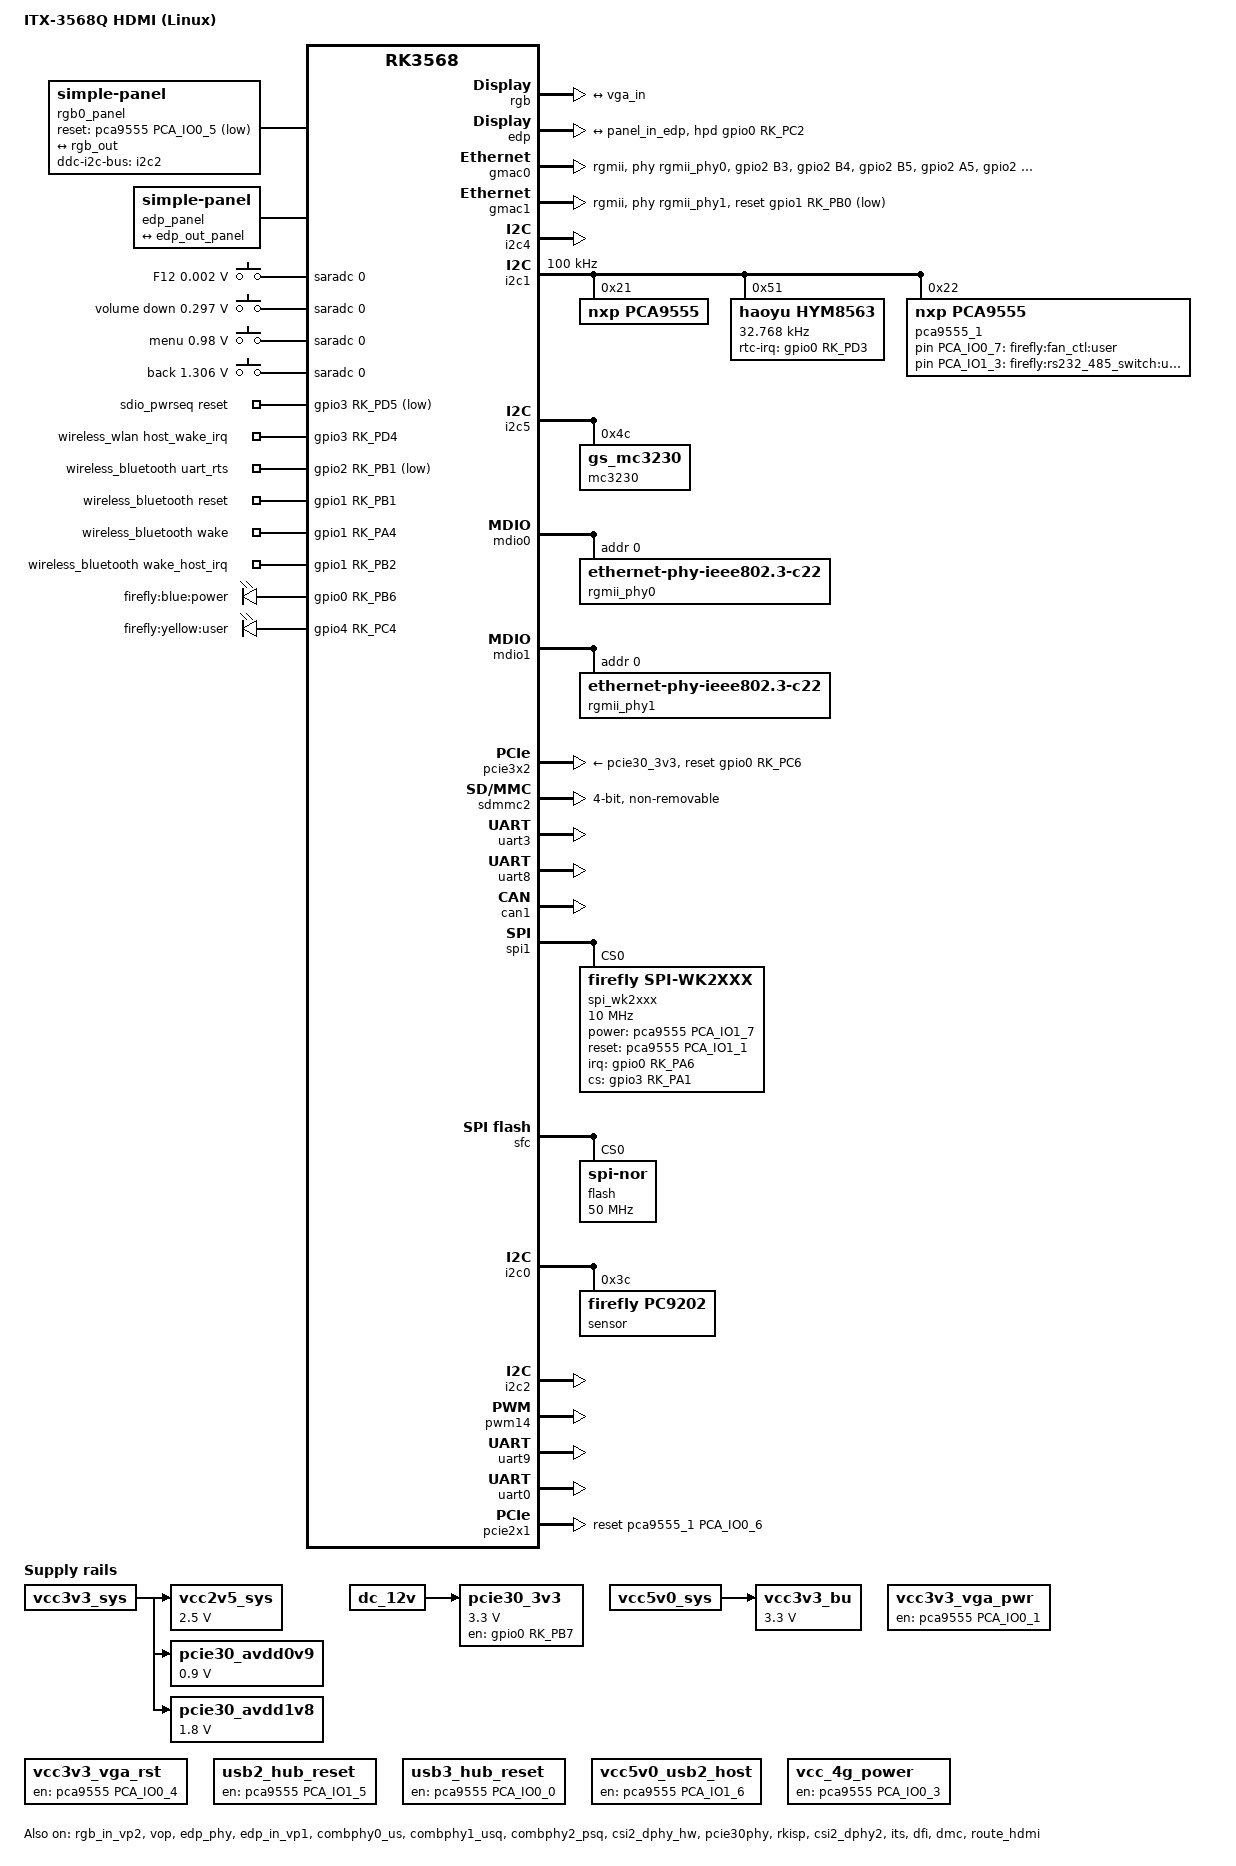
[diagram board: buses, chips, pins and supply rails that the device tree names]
// SPDX-License-Identifier: (GPL-2.0+ OR MIT)
/*
 * Copyright (c) 2020 Rockchip Electronics Co., Ltd.
 *
 */

/dts-v1/;

#include <dt-bindings/gpio/gpio.h>
#include <dt-bindings/pinctrl/rockchip.h>
#include <dt-bindings/display/rockchip_vop.h>
#include "rk3568-firefly-core.dtsi"
#include "rk3568-linux.dtsi"

/*
* Screen.
*/
#include <dt-bindings/display/media-bus-format.h>


/*
 * Camera.Select one of the three
 * using single camera xc7160 ----> rk3568-firefly-itx-3568q-cam-8ms1m.dtsi
 * using single camera imx415 ----> rk3568-firefly-itx-3568q-cam-imx415.dtsi
 * using dual camera gc2053/gc2093   ----> rk3568-firefly-itx-3568q-cam-2ms2m.dtsi
 * using hdmi-in module rk628d   ----> rk3568-firefly-itx-3568q-hdmi-mipi-rk628.dtsi
 */
#include "rk3568-firefly-itx-3568q-cam-8ms1m.dtsi"
#include "rk3568-firefly-itx-3568q-cam-imx415.dtsi"
#include "rk3568-firefly-itx-3568q-cam-ov5647.dtsi"
//#include "rk3568-firefly-itx-3568q-cam-2ms2m.dtsi"
//#include "rk3568-firefly-itx-3568q-hdmi-mipi-rk628.dtsi"

/ {
    model = "ITX-3568Q HDMI (Linux)";
    compatible = "rockchip,rk3568-firefly-itx-3568q", "rockchip,rk3568";

    	rgb0_panel {
			status = "okay";
			compatible = "simple-panel";
			ddc-i2c-bus = <&i2c2>;
			soft-hpd;
			//enable-gpios =<&pca9555 PCA_IO0_1 GPIO_ACTIVE_HIGH>;
			reset-gpios = <&pca9555 PCA_IO0_5 GPIO_ACTIVE_LOW>;
			/*	bus-format. default RGB for D23-D16/D15-8/D7-D0.
			        MEDIA_BUS_FMT_RGB888_1X24,  0x100a
					MEDIA_BUS_FMT_BGR888_1X24,  0x1013
			*/
//			bus-format = < 0x1013>;

			/*
				name              refresh     xres    yres    pixclock            h_bp    h_fp    v_bp    v_fp    h_pw    v_pw    polariry    PorI    flag(used for vic)
				{"640x480p@60Hz",   60,         640,    480,    25000000,   48,     16,     33,    10,       96,    2,      0,          0,      1   },
				{"800x600p@60Hz",   60,         800,    600,    40000000,   88,     40,     23,     1,      128,    4,      FB_SYNC_HOR_HIGH_ACT | FB_SYNC_VERT_HIGH_ACT,           0,      0       },
				{"1024x768p@60Hz",  60,         1024,   768,    65000000,   160,    24,     29,     3,      136,    6,      0,          0,      0   },
				{"1280x720p@60Hz",  60,         1280,   720,    74250000,   220,   110,     20,     5,       40,    5,      FB_SYNC_HOR_HIGH_ACT | FB_SYNC_VERT_HIGH_ACT,           0,      0       },
				{"1280x1024p@60Hz", 60,         1280,   1024,   108000000,  248,    48,     38,     1,      112,    3,      FB_SYNC_HOR_HIGH_ACT | FB_SYNC_VERT_HIGH_ACT,           0,      6       },
				{"1366x768p@60Hz",  60,         1366,   768,    85500000,   213,    70,     24,     3,      143,    3,      FB_SYNC_HOR_HIGH_ACT | FB_SYNC_VERT_HIGH_ACT,           0,      0       },
				{"1440x900p@60Hz",  60,         1440,   900,    106500000,  232,    80,     25,     3,      152,    6,      FB_SYNC_VERT_HIGH_ACT,          0,      0   },
				{"1600x900p@60Hz",  60,         1600,   900,    108000000,   96,    24,     96,     1,       80,    3,      FB_SYNC_VERT_HIGH_ACT | FB_SYNC_HOR_HIGH_ACT,           0,      0       },
				{"1680x1050p@60Hz", 60,         1680,   1050,   146200000,  280,    104,    30,     3,      176,    6,      FB_SYNC_VERT_HIGH_ACT,          0,      0   },
				{"1920x1080p@60Hz", 60,         1920,   1080,   148500000,  148,    88,     36,     4,       44,    5,      FB_SYNC_HOR_HIGH_ACT | FB_SYNC_VERT_HIGH_ACT,           0,      0       },
			*/
/*			rgb_timings0: display-timings {
				native-mode = <&rgb0_timing0>;
				rgb0_timing0: timing0 {
					hactive = <1920>;
					vactive = <1080>;
					clock-frequency = <148500000>;
					hback-porch = <148>;
					hfront-porch = <88>;
					vback-porch = <36>;
					vfront-porch = <4>;
					hsync-len = <44>;
					vsync-len = <5>;
					hsync-active = <1>;
					vsync-active = <1>;
					de-active = <1>;
					pixelclk-active = <0>;
				};
			};
*/
			port {
				vga_in: endpoint {
					remote-endpoint = <&rgb_out>;
				};
			};
	};

    vcc3v3_vga_pwr: vcc3v3-vga-pwr {
		compatible = "regulator-fixed";
		gpio =  <&pca9555 PCA_IO0_1 GPIO_ACTIVE_HIGH>;
		enable-active-high;
		regulator-name = "vcc3v3_vga_pwr";
		regulator-always-on;
	};

	vcc3v3_vga_rst: vcc3v3-vga-rst {
		compatible = "regulator-fixed";
		gpio =  <&pca9555 PCA_IO0_4 GPIO_ACTIVE_HIGH>;
		enable-active-high;
		regulator-name = "vcc3v3_vga_rst";
		regulator-always-on;
	};

    edp_panel: edp-panel {
		compatible = "simple-panel";
		status = "okay";
		/*
		display-timings {
           native-mode = <&timing0>;
           timing0: timing0 {
               clock-frequency = <148500000>;
               hactive = <1920>;
               vactive = <1080>;
               hfront-porch = <88>;
               hsync-len = <48>;
               hback-porch = <148>;
               vfront-porch = <4>;
               vsync-len = <5>;
               vback-porch = <36>;
               hsync-active = <0>;
               vsync-active = <0>;
               de-active = <0>;
               pixelclk-active = <0>;
           };
       };*/

		ports {
			panel_in_edp: endpoint {
				remote-endpoint = <&edp_out_panel>;
			};
		};
	};

    adc_keys: adc-keys {
		compatible = "adc-keys";
		io-channels = <&saradc 0>;
		io-channel-names = "buttons";
		keyup-threshold-microvolt = <1800000>;
		poll-interval = <100>;

		recovery-key {
			label = "F12";
			linux,code = <KEY_F12>;
			press-threshold-microvolt = <1750>;
		};

		vol-down-key {
			label = "volume down";
			linux,code = <KEY_VOLUMEDOWN>;
			press-threshold-microvolt = <297500>;
		};

		menu-key {
			label = "menu";
			linux,code = <KEY_MENU>;
			press-threshold-microvolt = <980000>;
		};

		back-key {
			label = "back";
			linux,code = <KEY_BACK>;
			press-threshold-microvolt = <1305500>;
		};
	};

	vcc2v5_sys: vcc2v5-ddr {
		compatible = "regulator-fixed";
		regulator-name = "vcc2v5-sys";
		regulator-always-on;
		regulator-boot-on;
		regulator-min-microvolt = <2500000>;
		regulator-max-microvolt = <2500000>;
		vin-supply = <&vcc3v3_sys>;
	};

	pcie30_avdd0v9: pcie30-avdd0v9 {
		compatible = "regulator-fixed";
		regulator-name = "pcie30_avdd0v9";
		regulator-always-on;
		regulator-boot-on;
		regulator-min-microvolt = <900000>;
		regulator-max-microvolt = <900000>;
		vin-supply = <&vcc3v3_sys>;
	};

	pcie30_avdd1v8: pcie30-avdd1v8 {
		compatible = "regulator-fixed";
		regulator-name = "pcie30_avdd1v8";
		regulator-always-on;
		regulator-boot-on;
		regulator-min-microvolt = <1800000>;
		regulator-max-microvolt = <1800000>;
		vin-supply = <&vcc3v3_sys>;
	};

	pcie30_3v3: gpio-regulator {
		compatible = "regulator-fixed";
		regulator-name = "pcie30_3v3";
		regulator-min-microvolt = <3300000>;
		regulator-max-microvolt = <3300000>;
		gpios = <&gpio0 RK_PD4 GPIO_ACTIVE_HIGH>;
    	enable-active-high;
	    regulator-boot-on;
	    gpio = <&gpio0 RK_PB7 GPIO_ACTIVE_HIGH>;
	    startup-delay-us = <10000>;
	    vin-supply = <&dc_12v>;
	};

	vcc3v3_bu: vcc3v3-bu {
		compatible = "regulator-fixed";
		regulator-name = "vcc3v3_bu";
		regulator-always-on;
		regulator-boot-on;
		regulator-min-microvolt = <3300000>;
		regulator-max-microvolt = <3300000>;
		vin-supply = <&vcc5v0_sys>;
	};

	sdio_pwrseq: sdio-pwrseq {
		compatible = "mmc-pwrseq-simple";
		clocks = <&rk809 1>;
		clock-names = "ext_clock";
		pinctrl-names = "default";
		pinctrl-0 = <&wifi_enable_h>;
		/*
			* On the module itself this is one of these (depending
			* on the actual card populated):
			* - SDIO_RESET_L_WL_REG_ON
			* - PDN (power down when low)
		*/
        status = "okay";
    	reset-gpios = <&gpio3 RK_PD5 GPIO_ACTIVE_LOW>;
	    post-power-on-delay-ms = <100>;
	};

	wireless_wlan: wireless-wlan {
		compatible = "wlan-platdata";
		rockchip,grf = <&grf>;
		pinctrl-names = "default";
		pinctrl-0 = <&wifi_host_wake_irq>;
		WIFI,host_wake_irq = <&gpio3 RK_PD4 GPIO_ACTIVE_HIGH>;
        wifi_chip_type = "ap6275s";
	    status = "okay";
	};

	wireless_bluetooth: wireless-bluetooth {
		compatible = "bluetooth-platdata";
		clocks = <&rk809 1>;
		clock-names = "ext_clock";
		//wifi-bt-power-toggle;
		uart_rts_gpios = <&gpio2 RK_PB1 GPIO_ACTIVE_LOW>;
		pinctrl-names = "default", "rts_gpio";
		pinctrl-0 = <&uart8m0_rtsn>;
		pinctrl-1 = <&uart8_gpios>;
        BT,reset_gpio    = <&gpio1 RK_PB1 GPIO_ACTIVE_HIGH>;
        BT,wake_gpio     = <&gpio1 RK_PA4 GPIO_ACTIVE_HIGH>;
        BT,wake_host_irq = <&gpio1 RK_PB2 GPIO_ACTIVE_HIGH>;
        status = "okay";
	};

	flash_led: flash-led {
		compatible = "led,rgb13h";
		label = "pwm-flash-led";
		led-max-microamp = <20000>;
		flash-max-microamp = <20000>;
		flash-max-timeout-us = <1000000>;
		pwms = <&pwm11 0 25000 0>;
		rockchip,camera-module-index = <1>;
		rockchip,camera-module-facing = "front";
		status = "disabled";
	};

	vcc_camera: vcc-camera-regulator {
		compatible = "regulator-fixed";
		//gpio = <&pca9555 PCA_IO0_0 GPIO_ACTIVE_HIGH>;
		gpio = <&pca9555 PCA_IO0_3 GPIO_ACTIVE_HIGH>;
		pinctrl-names = "default";
		pinctrl-0 = <&vcc_cam>;
		regulator-name = "vcc_camera";
		enable-active-high;
		status = "disabled";
	};

	usb2_hub_reset: usb2-hub-reset-regulator {
		compatible = "regulator-fixed";
		enable-active-high;
		gpio = <&pca9555 PCA_IO1_5 GPIO_ACTIVE_HIGH>;
		regulator-name = "usb2_hub_reset_n";
		regulator-always-on;
	};

	usb3_hub_reset: usb3-hub-reset-regulator {
		compatible = "regulator-fixed";
		enable-active-high;
		gpio = <&pca9555 PCA_IO0_0 GPIO_ACTIVE_HIGH>;
		regulator-name = "usb3_hub_reset_n";
		regulator-always-on;
	};

	vcc5v0_usb2_host: vcc5v0-usb2-host-regulator {
		compatible = "regulator-fixed";
		enable-active-high;
		gpio = <&pca9555 PCA_IO1_6 GPIO_ACTIVE_HIGH>;
		regulator-name = "vcc5v0_usb2_host_en";
		regulator-always-on;
	};

    vcc_4g_power: vcc-4g-power-regulator {
        compatible = "regulator-fixed";
        enable-active-high;
        gpio = <&pca9555 PCA_IO0_3 GPIO_ACTIVE_HIGH>;
        regulator-name = "vcc_4g_power_en";
        regulator-always-on;
    };

	firefly_leds: leds {
		status = "okay";
		compatible = "gpio-leds";

		power_led: power {
			label = "firefly:blue:power";
			linux,default-trigger = "ir-power-click";
			default-state = "on";
			gpios = <&gpio0 RK_PB6 GPIO_ACTIVE_HIGH>;
			pinctrl-names = "default";
			pinctrl-0 = <&led_power>;
		};

		user_led: user {
			label = "firefly:yellow:user";
			linux,default-trigger = "ir-user-click";
			default-state = "off";
			gpios = <&gpio4 RK_PC4 GPIO_ACTIVE_HIGH>;
			pinctrl-names = "default";
			pinctrl-0 = <&led_user>;
		};

		fan_ctl: fan-ctl {
			label = "firefly:fan_ctl:user";
			linux,default-trigger = "ir-user-click";
			default-state = "on";
			gpios = <&pca9555_1 PCA_IO0_7 GPIO_ACTIVE_HIGH>;
		};

		rs232_485_switch: rs232-485-switch {
			label = "firefly:rs232_485_switch:user";
			linux,default-trigger = "ir-user-click";
			default-state = "off";  //off:RS232 on:RS485
			gpios = <&pca9555_1 PCA_IO1_3 GPIO_ACTIVE_HIGH>;
		};

	};

//	tp_power: tp-power-regulator {
//		compatible = "regulator-fixed";
//		enable-active-high;
//		gpio = <&gpio3 RK_PA4 GPIO_ACTIVE_HIGH>;
//		pinctrl-names = "default";
//		pinctrl-0 = <&tp_power_en>;
//		regulator-name = "tp_power_en";
//		regulator-always-on;
//	};

//	pcie20_3v3: gpio-regulator {
//		compatible = "regulator-gpio";
//		regulator-name = "pcie20_3v3";
//		regulator-min-microvolt = <0100000>;
//		regulator-max-microvolt = <3300000>;
//		gpios = <&pca9555 PCA_IO0_2 GPIO_ACTIVE_HIGH>;
//		gpios-states = <0x1>;
//		states = <0100000 0x0
//			  3300000 0x1>;
//	};
};

&route_rgb {
    status = "disabled";
    logo,rotation = <270>; //support rotation 90,180,270
    connect = <&vp2_out_rgb>;
};

&rgb {
	status = "okay";
	pinctrl-names = "default";
	pinctrl-0 = <&lcdc_ctl>;
	ports {
		port@1 {
			reg = <1>;
			#address-cells = <1>;
			#size-cells = <0>;

			rgb_out: endpoint@0 {
				reg = <0>;
				remote-endpoint = <&vga_in>;
			};
		};
	};
};

&lvds_in_vp2 {
	status = "disabled";
};

&rgb_in_vp2 {
	status = "okay";
};

&vop {
	status = "okay";
	assigned-clocks = <&cru DCLK_VOP0>, <&cru DCLK_VOP1>;
	assigned-clock-parents = <&pmucru PLL_HPLL>, <&cru PLL_VPLL>;
};

&vp2{
	rgb-pixelclk;
	rb-swap;
    rockchip,plane-mask = <(1 << ROCKCHIP_VOP2_ESMART1)>;
    rockchip,primary-plane = <ROCKCHIP_VOP2_ESMART1>;
};

/delete-node/ &vcc3v3_lcd0_n;
/delete-node/ &vcc3v3_lcd1_n;

&edp {
	status = "okay";
	hpd-gpios = <&gpio0 RK_PC2 GPIO_ACTIVE_HIGH>;
	//force-hpd;
	//enable-delay-ms = <200>; // vcc to hpd delay 900ms for power on sequence

	ports {
		edp_out: port@1 {
			reg = <1>;
			#address-cells = <1>;
			#size-cells = <0>;

			edp_out_panel: endpoint@0 {
				reg = <0>;
				remote-endpoint = <&panel_in_edp>;
			};
		};
	};
};

&edp_phy {
	status = "okay";
};

&route_edp {
	status = "disabled";
	connect = <&vp1_out_edp>;
};

&edp_in_vp0 {
	status = "disabled";
};

&edp_in_vp1 {
	status = "okay";
};

&combphy0_us {
	status = "okay";
};

&combphy1_usq {
	status = "okay";
};

&combphy2_psq {
	status = "okay";
};

&csi2_dphy_hw {
	status = "okay";
};

&csi2_dphy0 {
	status = "disabled";

	ports {
		#address-cells = <1>;
		#size-cells = <0>;
		port@0 {
			reg = <0>;
			#address-cells = <1>;
			#size-cells = <0>;

			mipi_in_ucam0: endpoint@1 {
				reg = <1>;
				remote-endpoint = <&ucam_out0>;
				data-lanes = <1 2 3 4>;
			};
			mipi_in_ucam1: endpoint@2 {
				reg = <2>;
				remote-endpoint = <&gc8034_out>;
				data-lanes = <1 2 3 4>;
			};
			mipi_in_ucam2: endpoint@3 {
				reg = <3>;
				remote-endpoint = <&ov5695_out>;
				data-lanes = <1 2>;
			};
		};
		port@1 {
			reg = <1>;
			#address-cells = <1>;
			#size-cells = <0>;

			csidphy_out: endpoint@0 {
				reg = <0>;
				remote-endpoint = <&isp0_in>;
			};
		};
	};
};

&gmac0 {
	phy-mode = "rgmii";

	snps,reset-active-low;
	/* Reset time is 20ms, 100ms for rtl8211f */
	snps,reset-delays-us = <0 20000 100000>;

	phy-handle = <&rgmii_phy0>;

    status = "okay";
    tx_delay = <0x4a>;
    rx_delay = <0x35>;
	snps,reset-gpio = <&gpio0 RK_PD5 GPIO_ACTIVE_LOW>;

	clock_in_out = "output";
	assigned-clocks = <&cru SCLK_GMAC0_RX_TX>, <&cru SCLK_GMAC0>;
	assigned-clock-rates = <0>, <125000000>;
	assigned-clock-parents = <&cru SCLK_GMAC0_RGMII_SPEED>;

	pinctrl-names = "default";
	pinctrl-0 = <&gmac0_miim
		     &gmac0_tx_bus2
		     &gmac0_rx_bus2
		     &gmac0_rgmii_clk
		     &gmac0_rgmii_bus>;
};

&gmac1 {
	phy-mode = "rgmii";

	snps,reset-active-low;
	/* Reset time is 20ms, 100ms for rtl8211f */
	snps,reset-delays-us = <0 20000 100000>;

	phy-handle = <&rgmii_phy1>;

    status = "okay";
    tx_delay = <0x4d>;
    rx_delay = <0x2d>;
	snps,reset-gpio = <&gpio1 RK_PB0 GPIO_ACTIVE_LOW>;

	clock_in_out = "output";
	assigned-clocks = <&cru SCLK_GMAC1_RX_TX>, <&cru SCLK_GMAC1>;
	assigned-clock-rates = <0>, <125000000>;
	assigned-clock-parents = <&cru SCLK_GMAC1_RGMII_SPEED>;

	pinctrl-names = "default";
	pinctrl-0 = <&gmac1m1_miim
		     &gmac1m1_tx_bus2
		     &gmac1m1_rx_bus2
		     &gmac1m1_rgmii_clk
		     &gmac1m1_rgmii_bus>;
};

/*
 * power-supply should switche to vcc3v3_lcd1_n
 * when mipi panel is connected to dsi1.
 */

&i2c4 {
	status = "okay";
	gc8034: gc8034@37 {
		compatible = "galaxycore,gc8034";
		status = "disabled";
		reg = <0x37>;
		clocks = <&cru CLK_CIF_OUT>;
		clock-names = "xvclk";
		pinctrl-names = "default";
		pinctrl-0 = <&cif_clk>;
		reset-gpios = <&gpio3 RK_PB6 GPIO_ACTIVE_LOW>;
		pwdn-gpios = <&gpio4 RK_PB4 GPIO_ACTIVE_LOW>;
		rockchip,grf = <&grf>;
		rockchip,camera-module-index = <0>;
		rockchip,camera-module-facing = "back";
		rockchip,camera-module-name = "RK-CMK-8M-2-v1";
		rockchip,camera-module-lens-name = "CK8401";
		port {
			gc8034_out: endpoint {
				remote-endpoint = <&mipi_in_ucam1>;
				data-lanes = <1 2 3 4>;
			};
		};
	};
	os04a10: os04a10@36 {
		status = "disabled";
		compatible = "ovti,os04a10";
		reg = <0x36>;
		clocks = <&cru CLK_CIF_OUT>;
		clock-names = "xvclk";
		power-domains = <&power RK3568_PD_VI>;
		pinctrl-names = "default";
		pinctrl-0 = <&cif_clk>;
		reset-gpios = <&gpio3 RK_PB6 GPIO_ACTIVE_LOW>;
		pwdn-gpios = <&gpio4 RK_PB4 GPIO_ACTIVE_HIGH>;
		rockchip,camera-module-index = <0>;
		rockchip,camera-module-facing = "back";
		rockchip,camera-module-name = "CMK-OT1607-FV1";
		rockchip,camera-module-lens-name = "M12-40IRC-4MP-F16";
		port {
			ucam_out0: endpoint {
				remote-endpoint = <&mipi_in_ucam0>;
				data-lanes = <1 2 3 4>;
			};
		};
	};
	ov5695: ov5695@36 {
		status = "disabled";
		compatible = "ovti,ov5695";
		reg = <0x36>;
		clocks = <&cru CLK_CIF_OUT>;
		clock-names = "xvclk";
		power-domains = <&power RK3568_PD_VI>;
		pinctrl-names = "default";
		pinctrl-0 = <&cif_clk>;
		reset-gpios = <&gpio3 RK_PB6 GPIO_ACTIVE_HIGH>;
		pwdn-gpios = <&gpio4 RK_PB4 GPIO_ACTIVE_HIGH>;
		rockchip,camera-module-index = <0>;
		rockchip,camera-module-facing = "back";
		rockchip,camera-module-name = "TongJu";
		rockchip,camera-module-lens-name = "CHT842-MD";
		port {
			ov5695_out: endpoint {
				remote-endpoint = <&mipi_in_ucam2>;
				data-lanes = <1 2>;
			};
		};
	};
};

&i2c1 {
    status = "okay";
	clock-frequency = <100000>;

	pca9555: gpio@21 {
		status = "disabled";
		compatible = "nxp,pca9555";
		reg = <0x21>;
		gpio-controller;
		#gpio-cells = <2>;
		gpio-group-num = <200>;
	};

	gt1x: gt1x@14 {
		status = "disabled";
		compatible = "goodix,gt1x";
		reg = <0x14>;
		pinctrl-names = "default";
		pinctrl-0 = <&touch_gpio>;
		goodix,rst-gpio = <&gpio0 RK_PB6 GPIO_ACTIVE_HIGH>;
		goodix,irq-gpio = <&gpio0 RK_PB5 IRQ_TYPE_LEVEL_LOW>;
	};

	hym8563: hym8563@51 {
		status = "okay";
		compatible = "haoyu,hym8563";
		reg = <0x51>;
		#clock-cells = <0>;
		rtc-irq-gpio = <&gpio0 RK_PD3 IRQ_TYPE_EDGE_FALLING>;
		clock-frequency = <32768>;
		//clock-output-names = "xin32k";
		/* rtc_int is not connected */
	};

	pca9555_1: gpio@22 {
		status = "okay";
		compatible = "nxp,pca9555";
		reg = <0x22>;
		gpio-controller;
		#gpio-cells = <2>;
		gpio-group-num = <300>;
	};

    gslx680: gslx680@41 {
        status = "disabled";
        compatible = "gslX680";
        reg = <0x41>;
        screen_max_x = <800>;
        screen_max_y = <1280>;
        touch-gpio = <&gpio3 RK_PA3 IRQ_TYPE_LEVEL_LOW>;
        reset-gpio = <&gpio3 RK_PA5 GPIO_ACTIVE_HIGH>;
        flip-x = <1>;
        flip-y = <0>;
        swap-xy = <0>;
        gsl,fw = <1>;
    };

	/delete-node/ xc6130@23;
};

&i2c5 {
	status = "okay";

	mc3230: mc3230sensor@4c {
		compatible = "gs_mc3230";
		reg = <0x4c>;
		type = <SENSOR_TYPE_ACCEL>;
		irq_enable = <0>;
		poll_delay_ms = <30>;
		layout = <4>;
		status = "disabled";
	};

	mxc6655xa: mxc6655xa@15 {
		status = "disabled";
		compatible = "gs_mxc6655xa";
		pinctrl-names = "default";
		pinctrl-0 = <&mxc6655xa_irq_gpio>;
		reg = <0x15>;
		irq-gpio = <&gpio3 RK_PC1 IRQ_TYPE_LEVEL_LOW>;
		irq_enable = <0>;
		poll_delay_ms = <30>;
		type = <SENSOR_TYPE_ACCEL>;
		power-off-in-suspend = <1>;
		layout = <1>;
	};
};

&mdio0 {
	rgmii_phy0: phy@0 {
		compatible = "ethernet-phy-ieee802.3-c22";
		reg = <0x0>;
	};
};

&mdio1 {
	rgmii_phy1: phy@0 {
		compatible = "ethernet-phy-ieee802.3-c22";
		reg = <0x0>;
	};
};

&pcie30phy {
	status = "okay";
};

&pcie3x2 {
    reset-gpios = <&gpio0 RK_PC6 GPIO_ACTIVE_HIGH>;
    vpcie3v3-supply = <&pcie30_3v3>;
    status = "okay";
};

&rk809_sound {
	/delete-property/ simple-audio-card,hp-det-gpio;
};

&rk809_codec {
	pinctrl-0 = <&i2s1m0_mclk>;
    spk-ctl-gpios = <&pca9555 PCA_IO0_7 GPIO_ACTIVE_HIGH>;
	/delete-property/ pinctrl-1;
    hp-ctl-gpios = <&gpio2 RK_PC1 GPIO_ACTIVE_HIGH>;
    hp-det-adc-value = <200>;
    hp-adc-drift-scope = <200>;
};

&rkisp {
	status = "okay";
};

&rkisp_mmu {
	status = "okay";
};

&rkisp_vir0 {
	status = "disabled";

	port {
		#address-cells = <1>;
		#size-cells = <0>;

		isp0_in: endpoint@0 {
			reg = <0>;
			remote-endpoint = <&csidphy_out>;
		};
	};
};

&sata2 {
    status = "disabled";
	/delete-property/ pinctrl-0;
};

&sdmmc2 {
	max-frequency = <150000000>;
	no-sd;
	no-mmc;
	bus-width = <4>;
	disable-wp;
	cap-sd-highspeed;
	cap-sdio-irq;
	keep-power-in-suspend;
	pinctrl-names = "default";
	pinctrl-0 = <&sdmmc2m0_bus4 &sdmmc2m0_cmd &sdmmc2m0_clk>;
	sd-uhs-sdr104;
	mmc-pwrseq = <&sdio_pwrseq>;
	non-removable;
	status = "okay";
};

&spdif_8ch {
	status = "disabled";
	pinctrl-names = "default";
	pinctrl-0 = <&spdifm1_tx>;
};

&uart3 {
    pinctrl-names = "default";
	pinctrl-0 = <&uart3m0_xfer>;
	status = "okay";
};

&uart4 {
	status = "disabled";
	pinctrl-names = "default";
	pinctrl-0 = <&uart4m1_xfer>;
};

&uart8 {
	status = "okay";
	pinctrl-names = "default";
	pinctrl-0 = <&uart8m0_xfer &uart8m0_ctsn>;
};

&can1 {
	status = "okay";
	compatible = "rockchip,rk3568-can-2.0";
	assigned-clocks = <&cru CLK_CAN1>;
	assigned-clock-rates = <200000000>;
	pinctrl-names = "default";
	pinctrl-0 = <&can1m1_pins>;
};

&can2 {
	status = "disabled";
	compatible = "rockchip,rk3568-can-2.0";
	assigned-clocks = <&cru CLK_CAN2>;
	assigned-clock-rates = <200000000>;
	pinctrl-names = "default";
	pinctrl-0 = <&can2m0_pins>;
};

&spi1 {
	status = "okay";
	max-freq = <48000000>;
	dev-port = <0>;
	pinctrl-0 = <&spi1m1_pins>;
	pinctrl-1 = <&spi1m1_pins_hs>;

	spi_wk2xxx: spi_wk2xxx@0{
		status = "disabled";
		compatible = "firefly,spi-wk2xxx";
		reg = <0x00>;
		spi-max-frequency = <10000000>;
		power-gpio = <&pca9555 PCA_IO1_7 GPIO_ACTIVE_HIGH>;
		reset-gpio = <&pca9555 PCA_IO1_1 GPIO_ACTIVE_HIGH>;
		irq-gpio = <&gpio0 RK_PA6 IRQ_TYPE_EDGE_FALLING>;
		cs-gpio = <&gpio3 RK_PA1 GPIO_ACTIVE_HIGH>;
		/* rk3399 driver support SPI_CPOL | SPI_CPHA | SPI_CS_HIGH */
		//spi-cpha;     /* SPI mode: CPHA=1 */
		//spi-cpol;     /* SPI mode: CPOL=1 */
		//spi-cs-high;
	};
};

&pwm7 {
	status = "disabled";

	compatible = "rockchip,remotectl-pwm";
	interrupts = <GIC_SPI 83 IRQ_TYPE_LEVEL_HIGH>;
	remote_pwm_id = <3>;
	handle_cpu_id = <1>;
	remote_support_psci = <0>;
	pinctrl-names = "default";
	pinctrl-0 = <&pwm7_pins>;

	ir_key_firefly{
		rockchip,usercode = <0xff00>;
		rockchip,key_table =
			<0xeb   KEY_POWER>,
			<0xec   KEY_MENU>,
			<0xfe   KEY_BACK>,
			<0xb7   KEY_HOME>,
			<0xa3   KEY_WWW>,
			<0xf4   KEY_VOLUMEUP>,
			<0xa7   KEY_VOLUMEDOWN>,
			<0xf8   KEY_REPLY>,
			<0xfc   KEY_UP>,
			<0xfd   KEY_DOWN>,
			<0xf1   KEY_LEFT>,
			<0xe5   KEY_RIGHT>;
	};
};

&pinctrl {
    
	cam {
		vcc_cam: vcc-cam {
			rockchip,pins =
				/* camera power en */
				<0 RK_PC1 RK_FUNC_GPIO &pcfg_pull_none>;
		};
	};
	headphone {
		hp_det: hp-det {
			rockchip,pins = <3 RK_PC2 RK_FUNC_GPIO &pcfg_pull_down>;
		};
	};

	sdio-pwrseq {
		wifi_enable_h: wifi-enable-h {
			rockchip,pins = <3 RK_PD5 RK_FUNC_GPIO &pcfg_pull_none>;
		};
	};

	wireless-wlan {
		wifi_host_wake_irq: wifi-host-wake-irq {
			rockchip,pins = <3 RK_PD4 RK_FUNC_GPIO &pcfg_pull_down>;
		};
	};

	wireless-bluetooth {
		uart8_gpios: uart8-gpios {
			rockchip,pins = <2 RK_PB1 RK_FUNC_GPIO &pcfg_pull_none>;
		};
	};

	touch {
		touch_gpio: touch-gpio {
			rockchip,pins =
				<0 RK_PB5 RK_FUNC_GPIO &pcfg_pull_up>,
				<0 RK_PB6 RK_FUNC_GPIO &pcfg_pull_none>;
		};
	};

	mxc6655xa {
		mxc6655xa_irq_gpio: mxc6655xa_irq_gpio {
			rockchip,pins = <3 RK_PC1 RK_FUNC_GPIO &pcfg_pull_none>;
		};
	};

    leds {
	    led_power: led-power {
	        rockchip,pins = <0 RK_PC0 RK_FUNC_GPIO &pcfg_pull_none>;
	    };

		led_user: led-user {
			rockchip,pins = <4 RK_PC4 RK_FUNC_GPIO &pcfg_pull_none>;
		};
	};

	gmac0 {
		/omit-if-no-ref/
		gmac0_tx_bus2: gmac0-tx-bus2 {
			rockchip,pins =
				/* gmac0_txd0 */
				<2 RK_PB3 1 &pcfg_pull_none_drv_level_5>,
				/* gmac0_txd1 */
				<2 RK_PB4 1 &pcfg_pull_none_drv_level_5>,
				/* gmac0_txen */
				<2 RK_PB5 1 &pcfg_pull_none>;
		};

		/omit-if-no-ref/
		gmac0_rgmii_clk: gmac0-rgmii-clk {
			rockchip,pins =
				/* gmac0_rxclk */
				<2 RK_PA5 2 &pcfg_pull_none>,
				/* gmac0_txclk */
				<2 RK_PB0 2 &pcfg_pull_none_drv_level_5>;
		};

		/omit-if-no-ref/
		gmac0_rgmii_bus: gmac0-rgmii-bus {
			rockchip,pins =
				/* gmac0_rxd2 */
				<2 RK_PA3 2 &pcfg_pull_none>,
				/* gmac0_rxd3 */
				<2 RK_PA4 2 &pcfg_pull_none>,
				/* gmac0_txd2 */
				<2 RK_PA6 2 &pcfg_pull_none_drv_level_5>,
				/* gmac0_txd3 */
				<2 RK_PA7 2 &pcfg_pull_none_drv_level_5>;
		};
	};

//	touchscreen {
//		tp_power_en: tp-power-en {
//			rockchip,pins = <3 RK_PA4 RK_FUNC_GPIO &pcfg_pull_none>;
//		};
//	};
};

&sfc{
    pinctrl-names = "default";
    pinctrl-0 = <&fspi_pins>;
    assigned-clock-rates = <50000000>;
    status = "okay";
    flash@0 {
        compatible = "jedec,spi-nor";
        reg = <0>;
        spi-max-frequency = <50000000>;
        spi-rx-bus-width = <1>;
        spi-tx-bus-width = <1>;
    };
};

&vcc5v0_host {
	gpio = <&pca9555 PCA_IO1_4 GPIO_ACTIVE_HIGH>;
	/delete-property/ pinctrl-names;
	/delete-property/ pinctrl-0;
};

&csi2_dphy1 {
	status = "disabled";
	/*
	* dphy1 only used for split mode,
	* can be used  concurrently  with dphy2
	* full mode and split mode are mutually exclusive
	*/
};

&csi2_dphy2 {
	status = "okay";
	/*
	* dphy2 only used for split mode,
	* can be used  concurrently  with dphy1
	* full mode and split mode are mutually exclusive
	*/
};

&rkisp_vir1 {
	status = "disabled";
};

&i2c0 {
    status = "okay";
    sensor@3c{
        status = "okay";
        compatible = "firefly,pc9202";
        reg = <0x3c>;
        //wd-en-gpio = <&gpio3 23 GPIO_ACTIVE_HIGH>;
    };
};


&i2c2{
	status = "okay";
	pinctrl-0 = <&i2c2m1_xfer>;
};

&pwm11 {
	status = "disabled";
};

&pwm14 {
	status = "okay";
};

&mc3230 {
    status = "okay";
};

&pca9555 {
    status = "okay";
};

&uart9 {
	pinctrl-names = "default";
	pinctrl-0 = <&uart9m1_xfer>;
	status = "okay";
};

&uart0 {
	status = "okay";
};

&spi_wk2xxx {
	status = "okay";
};

&its {
    status = "okay";
};

&rgmii_phy0 {
	led_status_value = <0x6940>;
};

&rgmii_phy1 {
	led_status_value = <0x6940>;
};

&rk809 {
    rtc {
        status = "disabled";
    };
};

&pcie2x1 {
	reset-gpios = <&pca9555_1 PCA_IO0_6 GPIO_ACTIVE_HIGH>;
	status = "okay";
};

&dfi {
       status = "okay";
};

&dmc {
       status = "okay";
};

&vp0 {
        rockchip,plane-mask = <(1 << ROCKCHIP_VOP2_CLUSTER0 | 1 << ROCKCHIP_VOP2_ESMART0 | 1 << ROCKCHIP_VOP2_SMART0)>;
        rockchip,primary-plane = <ROCKCHIP_VOP2_SMART0>;
};

&vp1 {
        rockchip,plane-mask = <(1 << ROCKCHIP_VOP2_CLUSTER1 | 1 << ROCKCHIP_VOP2_SMART1)>;
        rockchip,primary-plane = <ROCKCHIP_VOP2_SMART1>;
};

&route_hdmi {
    status = "okay";
    connect = <&vp0_out_hdmi>;
};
